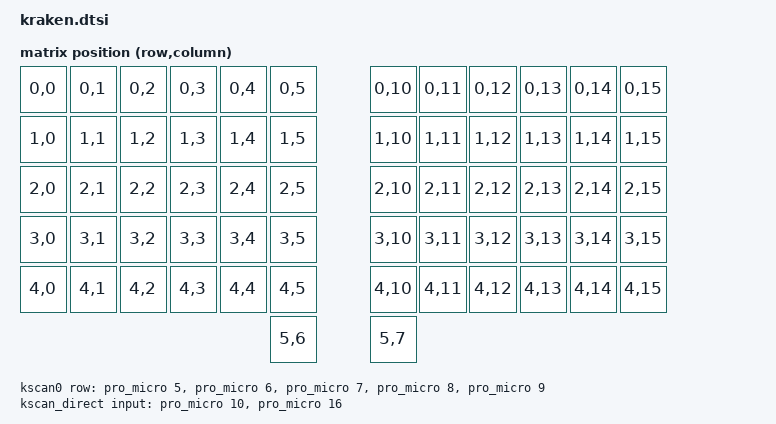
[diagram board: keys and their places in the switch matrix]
#include <dt-bindings/zmk/matrix_transform.h>

/ {
chosen {
zmk,kscan = <&kscan_composite>;
zmk,matrix_transform = <&default_transform>;
};

default_transform: keymap_transform_0 {
compatible = "zmk,matrix-transform";
columns = <16>;
rows = <6>;

map = <
RC(0,0) RC(0,1) RC(0,2) RC(0,3) RC(0,4) RC(0,5) RC(0,10) RC(0,11) RC(0,12) RC(0,13) RC(0,14) RC(0,15)
RC(1,0) RC(1,1) RC(1,2) RC(1,3) RC(1,4) RC(1,5) RC(1,10) RC(1,11) RC(1,12) RC(1,13) RC(1,14) RC(1,15)
RC(2,0) RC(2,1) RC(2,2) RC(2,3) RC(2,4) RC(2,5) RC(2,10) RC(2,11) RC(2,12) RC(2,13) RC(2,14) RC(2,15)
RC(3,0) RC(3,1) RC(3,2) RC(3,3) RC(3,4) RC(3,5) RC(3,10) RC(3,11) RC(3,12) RC(3,13) RC(3,14) RC(3,15)
RC(4,0) RC(4,1) RC(4,2) RC(4,3) RC(4,4) RC(4,5) RC(4,10) RC(4,11) RC(4,12) RC(4,13) RC(4,14) RC(4,15)
RC(5,6) RC(5,7)
>;
};

kscan0: kscan0 {
compatible = "zmk,kscan-gpio-matrix";
diode-direction = "col2row";
wakeup-source;

row-gpios
= <&pro_micro 5 (GPIO_ACTIVE_HIGH | GPIO_PULL_DOWN)>
, <&pro_micro 6 (GPIO_ACTIVE_HIGH | GPIO_PULL_DOWN)>
, <&pro_micro 7 (GPIO_ACTIVE_HIGH | GPIO_PULL_DOWN)>
, <&pro_micro 8 (GPIO_ACTIVE_HIGH | GPIO_PULL_DOWN)>
, <&pro_micro 9 (GPIO_ACTIVE_HIGH | GPIO_PULL_DOWN)>
;
};

/* CHANGE THESE TWO FLAGS IF YOUR SWITCHES ARE WIRED TO VCC INSTEAD OF GND: */
/* Use (GPIO_ACTIVE_HIGH | GPIO_PULL_DOWN) instead of (GPIO_ACTIVE_LOW | GPIO_PULL_UP) below */
kscan_direct: kscan_direct {
compatible = "zmk,kscan-gpio-direct";
wakeup-source;

input-gpios
= <&pro_micro 10 (GPIO_ACTIVE_LOW | GPIO_PULL_UP)>
, <&pro_micro 16 (GPIO_ACTIVE_LOW | GPIO_PULL_UP)>
;
};

kscan_composite: kscan_composite {
compatible = "zmk,kscan-composite";
rows = <6>;
columns = <16>;

matrix_child: matrix {
kscan = <&kscan0>;
};

/* CHANGE col-offset TO 8 IN THE RIGHT-SIDE OVERLAY IF YOU WIRE THAT SIDE TOO */
direct_child: direct {
kscan = <&kscan_direct>;
row-offset = <5>;
col-offset = <6>;
};
};
};
